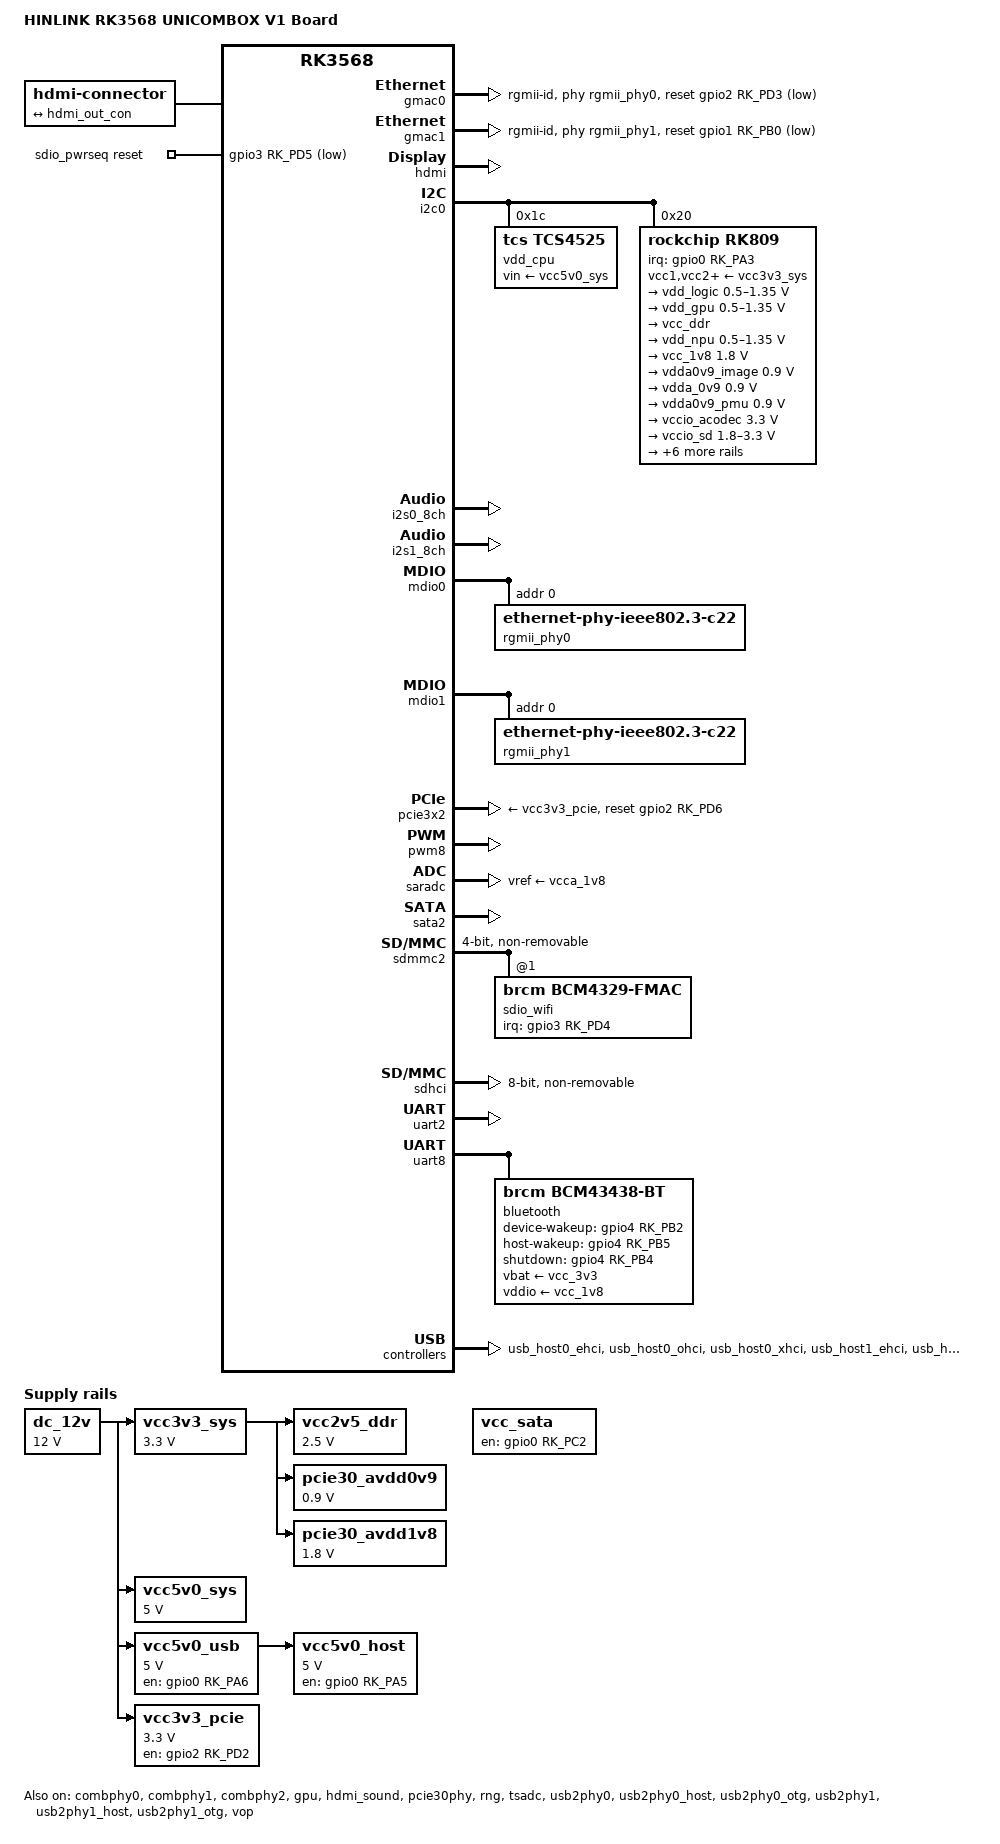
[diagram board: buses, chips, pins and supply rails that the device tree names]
// SPDX-License-Identifier: (GPL-2.0+ OR MIT)

/dts-v1/;
#include <dt-bindings/gpio/gpio.h>
#include <dt-bindings/pinctrl/rockchip.h>
#include <dt-bindings/soc/rockchip,vop2.h>
#include "rk3568.dtsi"

/ {
	model = "HINLINK RK3568 UNICOMBOX V1 Board";
	compatible = "hinlink,unicombox-v1", "rockchip,rk3568";

	aliases {
		ethernet0 = &gmac0;
		ethernet1 = &gmac1;
		mmc0 = &sdhci;
		mmc1 = &sdmmc0;
		mmc2 = &sdmmc2;
	};

	chosen: chosen {
		stdout-path = "serial2:1500000n8";
	};

	hdmi-con {
		compatible = "hdmi-connector";
		type = "a";

		port {
			hdmi_con_in: endpoint {
				remote-endpoint = <&hdmi_out_con>;
			};
		};
	};

	dc_12v: dc-12v {
		compatible = "regulator-fixed";
		regulator-name = "dc_12v";
		regulator-always-on;
		regulator-boot-on;
		regulator-min-microvolt = <12000000>;
		regulator-max-microvolt = <12000000>;
	};

	vcc3v3_sys: vcc3v3-sys {
		compatible = "regulator-fixed";
		regulator-name = "vcc3v3_sys";
		regulator-always-on;
		regulator-boot-on;
		regulator-min-microvolt = <3300000>;
		regulator-max-microvolt = <3300000>;
		vin-supply = <&dc_12v>;
	};

	vcc5v0_sys: vcc5v0-sys {
		compatible = "regulator-fixed";
		regulator-name = "vcc5v0_sys";
		regulator-always-on;
		regulator-boot-on;
		regulator-min-microvolt = <5000000>;
		regulator-max-microvolt = <5000000>;
		vin-supply = <&dc_12v>;
	};

	vcc5v0_usb: vcc5v0-usb {
		compatible = "regulator-fixed";
		enable-active-high;
		gpio = <&gpio0 RK_PA6 GPIO_ACTIVE_HIGH>;
		pinctrl-names = "default";
		pinctrl-0 = <&vcc5v0_usb_en>;
		regulator-name = "vcc5v0_usb";
		regulator-min-microvolt = <5000000>;
		regulator-max-microvolt = <5000000>;
		vin-supply = <&dc_12v>;
	};

	vcc5v0_host: vcc5v0-host-regulator {
		compatible = "regulator-fixed";
		enable-active-high;
		gpio = <&gpio0 RK_PA5 GPIO_ACTIVE_HIGH>;
		pinctrl-names = "default";
		pinctrl-0 = <&vcc5v0_host_en>;
		regulator-name = "vcc5v0_host";
		regulator-min-microvolt = <5000000>;
		regulator-max-microvolt = <5000000>;
		vin-supply = <&vcc5v0_usb>;
	};

	vcc2v5_ddr: vcc2v5-ddr {
		compatible = "regulator-fixed";
		regulator-name = "vcc2v5-ddr";
		regulator-always-on;
		regulator-boot-on;
		regulator-min-microvolt = <2500000>;
		regulator-max-microvolt = <2500000>;
		vin-supply = <&vcc3v3_sys>;
	};

	pcie30_avdd0v9: pcie30-avdd0v9 {
		compatible = "regulator-fixed";
		regulator-name = "pcie30_avdd0v9";
		regulator-always-on;
		regulator-boot-on;
		regulator-min-microvolt = <900000>;
		regulator-max-microvolt = <900000>;
		vin-supply = <&vcc3v3_sys>;
	};

	pcie30_avdd1v8: pcie30-avdd1v8 {
		compatible = "regulator-fixed";
		regulator-name = "pcie30_avdd1v8";
		regulator-always-on;
		regulator-boot-on;
		regulator-min-microvolt = <1800000>;
		regulator-max-microvolt = <1800000>;
		vin-supply = <&vcc3v3_sys>;
	};

	vcc3v3_pcie: gpio-regulator {
		compatible = "regulator-fixed";
		enable-active-high;
		gpio = <&gpio2 RK_PD2 GPIO_ACTIVE_HIGH>;
		regulator-name = "vcc3v3_pcie";
		regulator-min-microvolt = <3300000>;
		regulator-max-microvolt = <3300000>;
		startup-delay-us = <5000>;
		vin-supply = <&dc_12v>;
	};

	vcc_sata: vcc-sata-regulator {
		compatible = "regulator-fixed";
		enable-active-high;
		gpio = <&gpio0 RK_PC2 GPIO_ACTIVE_HIGH>;
		pinctrl-names = "default";
		pinctrl-0 = <&sata_pwr>;
		regulator-name = "vcc_sata";
		regulator-always-on;
		regulator-boot-on;
	};

	sdio_pwrseq: sdio-pwrseq {
		compatible = "mmc-pwrseq-simple";
		clocks = <&rk809 1>;
		clock-names = "ext_clock";
		pinctrl-names = "default";
		pinctrl-0 = <&wifi_enable_h>;

		/*
		 * On the module itself this is one of these (depending
		 * on the actual card populated):
		 * - SDIO_RESET_L_WL_REG_ON
		 * - PDN (power down when low)
		 */
		post-power-on-delay-ms = <200>;
		reset-gpios = <&gpio3 RK_PD5 GPIO_ACTIVE_LOW>;
	};
};

&combphy0 {
	status = "okay";
};

&combphy1 {
	status = "okay";
};

&combphy2 {
	status = "okay";
};

&cpu0 {
	cpu-supply = <&vdd_cpu>;
};

&cpu1 {
	cpu-supply = <&vdd_cpu>;
};

&cpu2 {
	cpu-supply = <&vdd_cpu>;
};

&cpu3 {
	cpu-supply = <&vdd_cpu>;
};

&gmac0 {
	phy-mode = "rgmii-id";
	clock_in_out = "output";
	snps,reset-gpio = <&gpio2 RK_PD3 GPIO_ACTIVE_LOW>;
	snps,reset-active-low;
	/* Reset time is 20ms, 100ms for rtl8211f */
	snps,reset-delays-us = <0 20000 100000>;
	assigned-clocks = <&cru SCLK_GMAC0_RX_TX>, <&cru SCLK_GMAC0>;
	assigned-clock-parents = <&cru SCLK_GMAC0_RGMII_SPEED>, <&cru CLK_MAC0_2TOP>;
	assigned-clock-rates = <0>, <125000000>;
	pinctrl-names = "default";
	pinctrl-0 = <&gmac0_miim
		     &gmac0_tx_bus2
		     &gmac0_rx_bus2
		     &gmac0_rgmii_clk
		     &gmac0_rgmii_bus>;
	tx_delay = <0x3c>;
	rx_delay = <0x2f>;
	phy-handle = <&rgmii_phy0>;
	status = "okay";
};

&gmac1 {
	phy-mode = "rgmii-id";
	clock_in_out = "output";
	snps,reset-gpio = <&gpio1 RK_PB0 GPIO_ACTIVE_LOW>;
	snps,reset-active-low;
	/* Reset time is 20ms, 100ms for rtl8211f */
	snps,reset-delays-us = <0 20000 100000>;
	assigned-clocks = <&cru SCLK_GMAC1_RX_TX>, <&cru SCLK_GMAC1>;
	assigned-clock-parents = <&cru SCLK_GMAC1_RGMII_SPEED>, <&cru CLK_MAC1_2TOP>;
	assigned-clock-rates = <0>, <125000000>;
	pinctrl-names = "default";
	pinctrl-0 = <&gmac1m1_miim
		     &gmac1m1_tx_bus2
		     &gmac1m1_rx_bus2
		     &gmac1m1_rgmii_clk
		     &gmac1m1_rgmii_bus>;
	tx_delay = <0x4f>;
	rx_delay = <0x26>;
	phy-handle = <&rgmii_phy1>;
	status = "okay";
};

&gpu {
	mali-supply = <&vdd_gpu>;
	status = "okay";
};

&hdmi {
	avdd-0v9-supply = <&vdda0v9_image>;
	avdd-1v8-supply = <&vcca1v8_image>;
	status = "okay";
};

&hdmi_in {
	hdmi_in_vp0: endpoint {
		remote-endpoint = <&vp0_out_hdmi>;
	};
};

&hdmi_out {
	hdmi_out_con: endpoint {
		remote-endpoint = <&hdmi_con_in>;
	};
};

&hdmi_sound {
	status = "okay";
};

&i2c0 {
	status = "okay";

	vdd_cpu: regulator@1c {
		compatible = "tcs,tcs4525";
		reg = <0x1c>;
		fcs,suspend-voltage-selector = <1>;
		regulator-name = "vdd_cpu";
		regulator-always-on;
		regulator-boot-on;
		regulator-min-microvolt = <712500>;
		regulator-max-microvolt = <1390000>;
		regulator-init-microvolt = <900000>;
		regulator-ramp-delay = <2300>;
		vin-supply = <&vcc5v0_sys>;

		regulator-state-mem {
			regulator-off-in-suspend;
		};
	};

	rk809: pmic@20 {
		compatible = "rockchip,rk809";
		reg = <0x20>;
		interrupt-parent = <&gpio0>;
		interrupts = <RK_PA3 IRQ_TYPE_LEVEL_LOW>;
		assigned-clocks = <&cru I2S1_MCLKOUT_TX>;
		assigned-clock-parents = <&cru CLK_I2S1_8CH_TX>;
		#clock-cells = <1>;
		clock-names = "mclk";
		clocks = <&cru I2S1_MCLKOUT_TX>;
		pinctrl-names = "default";
		pinctrl-0 = <&pmic_int>, <&i2s1m0_mclk>;
		rockchip,system-power-controller;
		#sound-dai-cells = <0>;
		wakeup-source;

		vcc1-supply = <&vcc3v3_sys>;
		vcc2-supply = <&vcc3v3_sys>;
		vcc3-supply = <&vcc3v3_sys>;
		vcc4-supply = <&vcc3v3_sys>;
		vcc5-supply = <&vcc3v3_sys>;
		vcc6-supply = <&vcc3v3_sys>;
		vcc7-supply = <&vcc3v3_sys>;
		vcc8-supply = <&vcc3v3_sys>;
		vcc9-supply = <&vcc3v3_sys>;

		regulators {
			vdd_logic: DCDC_REG1 {
				regulator-name = "vdd_logic";
				regulator-always-on;
				regulator-boot-on;
				regulator-initial-mode = <0x2>;
				regulator-min-microvolt = <500000>;
				regulator-max-microvolt = <1350000>;
				regulator-ramp-delay = <6001>;

				regulator-state-mem {
					regulator-off-in-suspend;
				};
			};

			vdd_gpu: DCDC_REG2 {
				regulator-name = "vdd_gpu";
				regulator-always-on;
				regulator-initial-mode = <0x2>;
				regulator-min-microvolt = <500000>;
				regulator-max-microvolt = <1350000>;
				regulator-init-microvolt = <900000>;
				regulator-ramp-delay = <6001>;

				regulator-state-mem {
					regulator-off-in-suspend;
				};
			};

			vcc_ddr: DCDC_REG3 {
				regulator-name = "vcc_ddr";
				regulator-always-on;
				regulator-boot-on;
				regulator-initial-mode = <0x2>;

				regulator-state-mem {
					regulator-on-in-suspend;
				};
			};

			vdd_npu: DCDC_REG4 {
				regulator-name = "vdd_npu";
				regulator-initial-mode = <0x2>;
				regulator-min-microvolt = <500000>;
				regulator-max-microvolt = <1350000>;
				regulator-init-microvolt = <900000>;
				regulator-ramp-delay = <6001>;

				regulator-state-mem {
					regulator-off-in-suspend;
				};
			};

			vcc_1v8: DCDC_REG5 {
				regulator-name = "vcc_1v8";
				regulator-always-on;
				regulator-boot-on;
				regulator-min-microvolt = <1800000>;
				regulator-max-microvolt = <1800000>;

				regulator-state-mem {
					regulator-off-in-suspend;
				};
			};

			vdda0v9_image: LDO_REG1 {
				regulator-name = "vdda0v9_image";
				regulator-min-microvolt = <900000>;
				regulator-max-microvolt = <900000>;

				regulator-state-mem {
					regulator-off-in-suspend;
				};
			};

			vdda_0v9: LDO_REG2 {
				regulator-name = "vdda_0v9";
				regulator-always-on;
				regulator-boot-on;
				regulator-min-microvolt = <900000>;
				regulator-max-microvolt = <900000>;

				regulator-state-mem {
					regulator-off-in-suspend;
				};
			};

			vdda0v9_pmu: LDO_REG3 {
				regulator-name = "vdda0v9_pmu";
				regulator-always-on;
				regulator-boot-on;
				regulator-min-microvolt = <900000>;
				regulator-max-microvolt = <900000>;

				regulator-state-mem {
					regulator-on-in-suspend;
					regulator-suspend-microvolt = <900000>;
				};
			};

			vccio_acodec: LDO_REG4 {
				regulator-name = "vccio_acodec";
				regulator-always-on;
				regulator-min-microvolt = <3300000>;
				regulator-max-microvolt = <3300000>;

				regulator-state-mem {
					regulator-off-in-suspend;
				};
			};

			vccio_sd: LDO_REG5 {
				regulator-name = "vccio_sd";
				regulator-min-microvolt = <1800000>;
				regulator-max-microvolt = <3300000>;

				regulator-state-mem {
					regulator-off-in-suspend;
				};
			};

			vcc3v3_pmu: LDO_REG6 {
				regulator-name = "vcc3v3_pmu";
				regulator-always-on;
				regulator-boot-on;
				regulator-min-microvolt = <3300000>;
				regulator-max-microvolt = <3300000>;

				regulator-state-mem {
					regulator-on-in-suspend;
					regulator-suspend-microvolt = <3300000>;
				};
			};

			vcca_1v8: LDO_REG7 {
				regulator-name = "vcca_1v8";
				regulator-always-on;
				regulator-boot-on;
				regulator-min-microvolt = <1800000>;
				regulator-max-microvolt = <1800000>;

				regulator-state-mem {
					regulator-off-in-suspend;
				};
			};

			vcca1v8_pmu: LDO_REG8 {
				regulator-name = "vcca1v8_pmu";
				regulator-always-on;
				regulator-boot-on;
				regulator-min-microvolt = <1800000>;
				regulator-max-microvolt = <1800000>;

				regulator-state-mem {
					regulator-on-in-suspend;
					regulator-suspend-microvolt = <1800000>;
				};
			};

			vcca1v8_image: LDO_REG9 {
				regulator-name = "vcca1v8_image";
				regulator-min-microvolt = <1800000>;
				regulator-max-microvolt = <1800000>;

				regulator-state-mem {
					regulator-off-in-suspend;
				};
			};

			vcc_3v3: SWITCH_REG1 {
				regulator-name = "vcc_3v3";
				regulator-always-on;
				regulator-boot-on;

				regulator-state-mem {
					regulator-off-in-suspend;
				};
			};

			vcc3v3_sd: SWITCH_REG2 {
				regulator-name = "vcc3v3_sd";

				regulator-state-mem {
					regulator-off-in-suspend;
				};
			};
		};
	};
};

&i2s0_8ch {
	status = "okay";
};

&i2s1_8ch {
	status = "okay";
	rockchip,clk-trcm = <1>;
	pinctrl-names = "default";
	pinctrl-0 = <&i2s1m0_sclktx
		     &i2s1m0_lrcktx
		     &i2s1m0_sdi0
		     &i2s1m0_sdo0>;
};

&mdio0 {
	rgmii_phy0: ethernet-phy@0 {
		compatible = "ethernet-phy-ieee802.3-c22";
		reg = <0x0>;
	};
};

&mdio1 {
	rgmii_phy1: ethernet-phy@0 {
		compatible = "ethernet-phy-ieee802.3-c22";
		reg = <0x0>;
	};
};

&pcie30phy {
	status = "okay";
};

&pcie3x2 {
	reset-gpios = <&gpio2 RK_PD6 GPIO_ACTIVE_HIGH>;
	vpcie3v3-supply = <&vcc3v3_pcie>;
	status = "okay";
};

&pinctrl {
	bt {
		bt_enable_h: bt-enable-h {
			rockchip,pins = <4 RK_PB4 RK_FUNC_GPIO &pcfg_pull_none>;
		};

		bt_host_wake_l: bt-host-wake-l {
			rockchip,pins = <4 RK_PB5 RK_FUNC_GPIO &pcfg_pull_none>;
		};

		bt_wake_l: bt-wake-l {
			rockchip,pins = <4 RK_PB2 RK_FUNC_GPIO &pcfg_pull_none>;
		};
	};

	pmic {
		pmic_int: pmic_int {
			rockchip,pins =
				<0 RK_PA3 RK_FUNC_GPIO &pcfg_pull_up>;
		};
	};

	sata {
		sata_pwr: sata-pwr {
			rockchip,pins = <0 RK_PB4 RK_FUNC_GPIO &pcfg_pull_none>;
		};
	};

	sdio-pwrseq {
		wifi_enable_h: wifi-enable-h {
			rockchip,pins = <3 RK_PD5 RK_FUNC_GPIO &pcfg_pull_none>;
		};
	};

	usb {
		vcc5v0_usb_en: vcc5v0-usb-en {
			rockchip,pins = <0 RK_PA6 RK_FUNC_GPIO &pcfg_pull_none>;
		};

		vcc5v0_host_en: vcc5v0-host-en {
			rockchip,pins = <0 RK_PA5 RK_FUNC_GPIO &pcfg_pull_none>;
		};
	};

	wireless-wlan {
		wifi_host_wake_irq: wifi-host-wake-irq {
			rockchip,pins = <3 RK_PD4 RK_FUNC_GPIO &pcfg_pull_down>;
		};
	};
};

&pmu_io_domains {
	pmuio2-supply = <&vcc3v3_pmu>;
	vccio1-supply = <&vccio_acodec>;
	vccio3-supply = <&vccio_sd>;
	vccio4-supply = <&vcc_1v8>;
	vccio5-supply = <&vcc_3v3>;
	vccio6-supply = <&vcc_1v8>;
	vccio7-supply = <&vcc_3v3>;
	status = "okay";
};

&pwm8 {
	status = "okay";
};

&rng {
	status = "okay";
};

&saradc {
	status = "okay";
	vref-supply = <&vcca_1v8>;
};

&sata2 {
	status = "okay";
};

&sdmmc2 {
	bus-width = <4>;
	cap-sd-highspeed;
	cap-sdio-irq;
	disable-wp;
	keep-power-in-suspend;
	mmc-pwrseq = <&sdio_pwrseq>;
	non-removable;
	pinctrl-names = "default";
	pinctrl-0 = <&sdmmc2m0_bus4 &sdmmc2m0_cmd &sdmmc2m0_clk>;
	status = "okay";

	sdio_wifi@1 {
		compatible = "brcm,bcm4329-fmac";
		reg = <1>;
		interrupt-parent = <&gpio3>;
		interrupts = <RK_PD4 IRQ_TYPE_LEVEL_HIGH>;
		interrupt-names = "host-wake";
		pinctrl-names = "default";
		pinctrl-0 = <&wifi_host_wake_irq>;
	};
};

&sdhci {
	bus-width = <8>;
	max-frequency = <200000000>;
	non-removable;
	status = "okay";
};

&tsadc {
	status = "okay";
};

&uart2 {
	status = "okay";
};

&uart8 {
	status = "okay";
	pinctrl-names = "default";
	pinctrl-0 = <&uart8m0_xfer &uart8m0_ctsn>;
	uart-has-rtscts;

	bluetooth {
		compatible = "brcm,bcm43438-bt";
		clocks = <&rk809 1>;
		clock-names = "lpo";
		device-wakeup-gpios = <&gpio4 RK_PB2 GPIO_ACTIVE_HIGH>;
		host-wakeup-gpios = <&gpio4 RK_PB5 GPIO_ACTIVE_HIGH>;
		shutdown-gpios = <&gpio4 RK_PB4 GPIO_ACTIVE_HIGH>;
		max-speed = <1500000>;
		pinctrl-names = "default";
		pinctrl-0 = <&bt_host_wake_l &bt_wake_l &bt_enable_h>;
		vbat-supply = <&vcc_3v3>;
		vddio-supply = <&vcc_1v8>;
	};
};

&usb_host0_ehci {
	status = "okay";
};

&usb_host0_ohci {
	status = "okay";
};

&usb_host0_xhci {
	extcon = <&usb2phy0>;
	status = "okay";
};

&usb_host1_ehci {
	status = "okay";
};

&usb_host1_ohci {
	status = "okay";
};

&usb_host1_xhci {
	status = "okay";
};

&usb2phy0 {
	status = "okay";
};

&usb2phy0_host {
	phy-supply = <&vcc5v0_host>;
	status = "okay";
};

&usb2phy0_otg {
	phy-supply = <&vcc5v0_usb>;
	status = "okay";
};

&usb2phy1 {
	status = "okay";
};

&usb2phy1_host {
	phy-supply = <&vcc5v0_host>;
	status = "okay";
};

&usb2phy1_otg {
	phy-supply = <&vcc5v0_host>;
	status = "okay";
};

&vop {
	assigned-clocks = <&cru DCLK_VOP0>, <&cru DCLK_VOP1>;
	assigned-clock-parents = <&pmucru PLL_HPLL>, <&cru PLL_VPLL>;
	status = "okay";
};

&vop_mmu {
	status = "okay";
};

&vp0 {
	vp0_out_hdmi: endpoint@ROCKCHIP_VOP2_EP_HDMI0 {
		reg = <ROCKCHIP_VOP2_EP_HDMI0>;
		remote-endpoint = <&hdmi_in_vp0>;
	};
};
